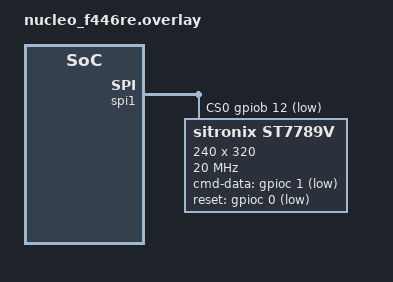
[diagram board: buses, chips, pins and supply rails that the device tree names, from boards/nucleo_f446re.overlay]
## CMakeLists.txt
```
# SPDX-License-Identifier: Apache-2.0

cmake_minimum_required(VERSION 3.20.0)

# required for apps
find_package(Zephyr REQUIRED HINTS $ENV{ZEPHYR_BASE})

project(test-tft)

zephyr_include_directories(src)

FILE(GLOB app_sources src/*.c)
target_sources(app PRIVATE ${app_sources})
```

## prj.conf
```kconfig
CONFIG_STDOUT_CONSOLE=y

CONFIG_HEAP_MEM_POOL_SIZE=4096

CONFIG_LOG=y

CONFIG_SPI=y
CONFIG_GPIO=y

# Display config
CONFIG_ST7789V=y
CONFIG_ST7789V_RGB565=y
CONFIG_DISPLAY=y
CONFIG_DISPLAY_LOG_LEVEL_ERR=y

# System config
CONFIG_MAIN_STACK_SIZE=2048

# LVGL config
CONFIG_LVGL=y
CONFIG_LV_MEM_CUSTOM=y
CONFIG_LV_USE_LOG=y
CONFIG_LV_COLOR_DEPTH_16=y
CONFIG_LV_COLOR_16_SWAP=y
CONFIG_LV_Z_BITS_PER_PIXEL=16
CONFIG_LV_USE_THEME_DEFAULT=y
CONFIG_LV_THEME_DEFAULT_DARK=y
CONFIG_LV_USE_METER=y
CONFIG_LV_Z_MEM_POOL_NUMBER_BLOCKS=8
```

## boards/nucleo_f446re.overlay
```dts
/* SPDX-License-Identifier: Apache-2.0 */

/ {
    chosen {
        zephyr-display = &st7789v;
    };

};

/*
* nucleo_f103			ST7789V (240x320)
* 
* (RESET)			RES
* (D5)			DC (DATA/CMD)
* (SCK)			SCL
* (MOSI)			SDA
*/

&spi1 {
	//status = "okay";

	cs-gpios = <&gpiob 12 (GPIO_ACTIVE_LOW | GPIO_PULL_UP)>;

	st7789v: st7789v@0 {
		status = "okay";
		compatible = "sitronix,st7789v";
		spi-max-frequency = <20000000>;
		reg = <0>;
		cmd-data-gpios = <&gpioc 1 (GPIO_ACTIVE_LOW | GPIO_PULL_UP)>;
		reset-gpios = <&gpioc 0 (GPIO_ACTIVE_LOW | GPIO_PULL_UP)>;
		width = <240>;
		height = <320>;
		x-offset = <0>;
		y-offset = <0>;
		vcom = <0x19>;
		gctrl = <0x35>;
		vrhs = <0x12>;
		vdvs = <0x20>;
		mdac = <0x00>;
		lcm = <0x2c>;
		colmod = <0x05>;
		gamma = <0x01>;
		porch-param = [0c 0c 00 33 33];
		cmd2en-param = [5a 69 02 01];
		pwctrl1-param = [a4 a1];
		pvgam-param = [D0 04 0D 11 13 2B 3F 54 4C 18 0D 0B 1F 23];
		nvgam-param = [D0 04 0C 11 13 2C 3F 44 51 2F 1F 1F 20 23];
		ram-param = [00 F0];
		rgb-param = [CD 08 14];
	};

};
```

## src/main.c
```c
#include <zephyr/kernel.h>
#include <zephyr/device.h>
#include <zephyr/drivers/display.h>
#include <lvgl.h>
#include <stdio.h>
#include <string.h>
#include "lvgl_sample.h"

#define LOG_LEVEL CONFIG_LOG_DEFAULT_LEVEL
#include <zephyr/logging/log.h>
LOG_MODULE_REGISTER(app);

void main(void)
{
	const struct device *display_dev;

	display_dev = DEVICE_DT_GET(DT_CHOSEN(zephyr_display));
	if (!device_is_ready(display_dev)) {
		LOG_ERR("Device not ready, aborting test");
		return;
	}

	lv_sample();
	lv_task_handler();
	display_blanking_off(display_dev);

	while (1) {
		lv_task_handler();
		k_sleep(K_MSEC(10));
	}
}
```

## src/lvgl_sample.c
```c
#include <lvgl.h>

static lv_obj_t * meter;

static void set_value(void * indic, int32_t v)
{
    lv_meter_set_indicator_end_value(meter, indic, v);
}

/**
 * A meter with multiple arcs
 */
static void lv_example_meter_2(void)
{
    meter = lv_meter_create(lv_scr_act());
    lv_obj_center(meter);
    lv_obj_set_size(meter, 200, 200);

    /*Remove the circle from the middle*/
    lv_obj_remove_style(meter, NULL, LV_PART_INDICATOR);

    /*Add a scale first*/
    lv_meter_scale_t * scale = lv_meter_add_scale(meter);
    lv_meter_set_scale_ticks(meter, scale, 11, 2, 10, lv_palette_main(LV_PALETTE_GREY));
    lv_meter_set_scale_major_ticks(meter, scale, 1, 2, 30, lv_color_hex3(0xeee), 15);
    lv_meter_set_scale_range(meter, scale, 0, 100, 270, 90);

    /*Add a three arc indicator*/
    lv_meter_indicator_t * indic1 = lv_meter_add_arc(meter, scale, 10, lv_palette_main(LV_PALETTE_RED), 0);
    lv_meter_indicator_t * indic2 = lv_meter_add_arc(meter, scale, 10, lv_palette_main(LV_PALETTE_GREEN), -10);
    lv_meter_indicator_t * indic3 = lv_meter_add_arc(meter, scale, 10, lv_palette_main(LV_PALETTE_BLUE), -20);

    /*Create an animation to set the value*/
    lv_anim_t a;
    lv_anim_init(&a);
    lv_anim_set_exec_cb(&a, set_value);
    lv_anim_set_values(&a, 0, 100);
    lv_anim_set_repeat_delay(&a, 100);
    lv_anim_set_playback_delay(&a, 100);
    lv_anim_set_repeat_count(&a, LV_ANIM_REPEAT_INFINITE);

    lv_anim_set_time(&a, 2000);
    lv_anim_set_playback_time(&a, 500);
    lv_anim_set_var(&a, indic1);
    lv_anim_start(&a);

    lv_anim_set_time(&a, 1000);
    lv_anim_set_playback_time(&a, 1000);
    lv_anim_set_var(&a, indic2);
    lv_anim_start(&a);

    lv_anim_set_time(&a, 1000);
    lv_anim_set_playback_time(&a, 2000);
    lv_anim_set_var(&a, indic3);
    lv_anim_start(&a);
}

void lv_sample(void)
{
    lv_example_meter_2();
}
```

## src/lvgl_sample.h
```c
#ifndef LVGL_SAMPLE_H
#define LVGL_SAMPLE_H

void lv_sample(void);

#endif
```
